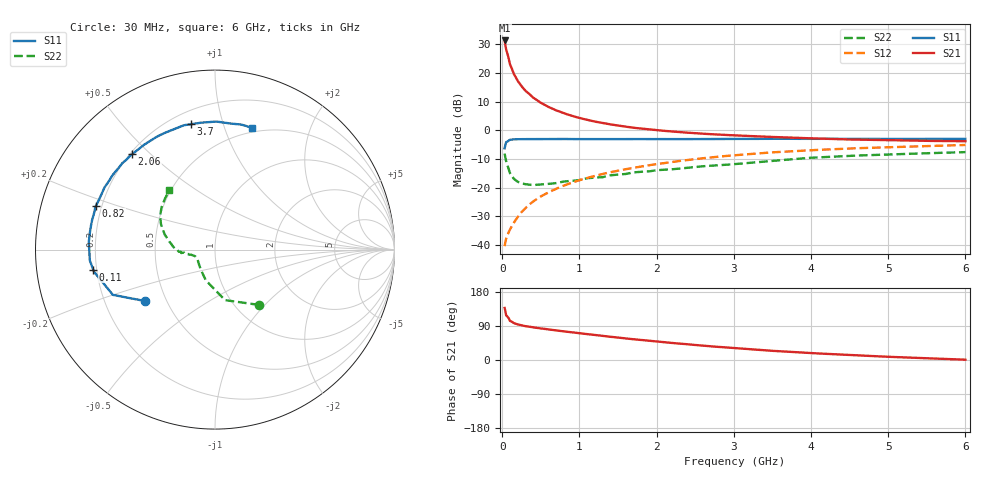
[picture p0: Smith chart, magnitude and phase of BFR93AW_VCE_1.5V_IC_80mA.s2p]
! Infineon Technologies  Discrete & RF Semiconductors
! BFR93AW
! VCE =  1.5 V,  IC =  80 mA
! Common Emitter S-Parameters:  Nov 2015
# GHz  S  MA  R  50
!  f  S11  S21  S12  S22
! GHz  MAG  ANG  MAG  ANG  MAG  ANG  MAG  ANG
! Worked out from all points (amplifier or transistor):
!   206 points, 30 MHz to 6 GHz, reference 50 ohm
!   highest |S21| = 31.4 dB at 30 MHz (marker M1)
!   |S21| within 3 dB of that: start of sweep to 48.95 MHz
!   unconditionally stable (mu >= 1): 81.55 MHz to end of sweep
!   at 200 MHz: K = 1.27, MAG = 20.6 dB, |S12| = -30.3 dB
!   at 1.56 GHz: K = 1.24, MAG = 4.6 dB, |S12| = -13.8 dB
!   at 6 GHz: K = 1.04, MAG = -0.6 dB, |S12| = -5.1 dB
!   S11 on the Smith chart (normalised r, x): 30 MHz: 0.38, -0.28; 110 MHz: 0.19, -0.08; 820 MHz: 0.18, +0.17; 2.06 GHz: 0.21, +0.44; 3.7 GHz: 0.28, +0.79; 6 GHz: 0.45, +1.24
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0.03  0.4848 -143.8  37.14 137.4  0.0095 59.4  0.3936 -51.5
0.05  0.6223 -156.1  25.8 117.6  0.0129 55.4  0.2872 -78.7
0.1  0.6851 -169.6  14.15 103.1  0.0186 62.2  0.179 -106.5
0.11  0.6876 -170.7  13.23 102.3  0.0197 63.3  0.1708 -109.1
0.15  0.7 -175.0  9.605 97.4  0.0244 66.7  0.1423 -122.1
0.2  0.7 -178.6  7.295 93.8  0.0307 69.3  0.1267 -132.2
0.24  0.7018 178.9  6.146 92.0  0.0361 71.0  0.1202 -138.5
0.26  0.7027 177.9  5.67 91.0  0.0387 71.6  0.118 -141.1
0.3  0.7043 176.3  4.915 89.3  0.0438 72.6  0.1149 -144.6
0.4  0.7036 172.2  3.723 86.1  0.0572 73.9  0.1109 -152.9
0.5  0.7039 169.0  3.023 83.2  0.0702 74.1  0.1137 -158.2
0.6  0.7041 166.4  2.557 80.7  0.0827 74.1  0.1157 -161.0
0.82  0.7066 159.8  1.942 75.1  0.1115 72.7  0.1285 -165.6
1.04  0.7039 154.1  1.596 69.8  0.14 70.6  0.1398 -168.2
1.48  0.7052 144.0  1.222 59.6  0.1952 65.8  0.1682 -172.2
2.02  0.705 131.9  1.001 48.2  0.2599 59.3  0.2023 -176.8
2.06  0.7043 131.1  0.991 47.5  0.2647 58.8  0.2038 -177.5
3.1  0.7078 111.0  0.808 30.0  0.3757 45.6  0.2635 168.9
3.7  0.7114 100.8  0.75 21.9  0.4277 37.9  0.3084 159.5
4.1  0.7109 94.8  0.719 17.2  0.457 33.0  0.3377 153.4
5.1  0.7078 82.5  0.669 7.7  0.5127 22.0  0.3832 140.0
6  0.7097 73.2  0.647 0.8  0.5553 13.4  0.4169 127.7
